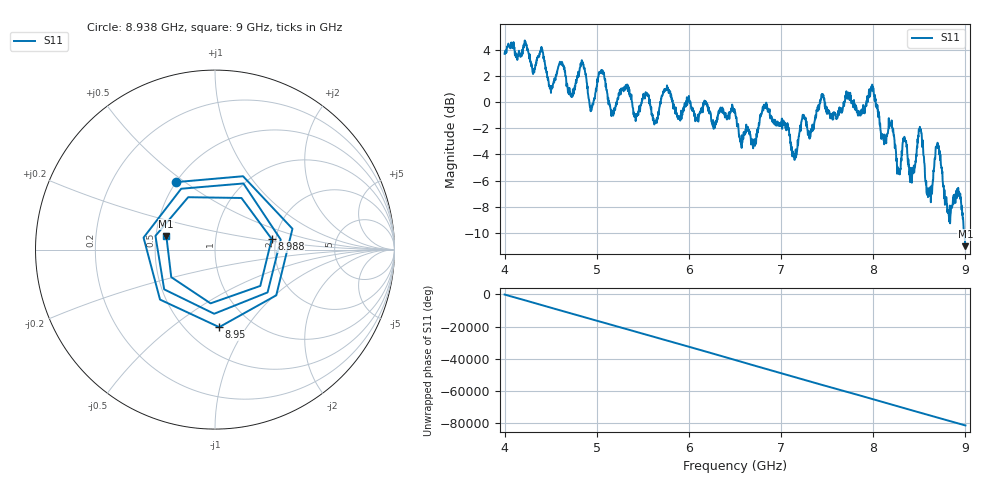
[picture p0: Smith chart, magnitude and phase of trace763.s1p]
! Created with skrf 1.8.0 (http://scikit-rf.org).
# Hz S RI R 50.0
!freq ReS11 ImS11
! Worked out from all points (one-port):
!   1601 points, 4 GHz to 9 GHz, reference 50 ohm
!   lowest |S11| = -11.0 dB at 9 GHz (marker M1), VSWR 1.79, Z = 28.4 + j4.71 ohm
!   |S11| at or under -10 dB: 8.991923 GHz to end of sweep
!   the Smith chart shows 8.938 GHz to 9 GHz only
!   S11 on the Smith chart (normalised r, x): 8.938 GHz: 0.50, +0.46; 8.95 GHz: 0.71, -0.76; 8.988 GHz: 1.90, +0.25; 9 GHz: 0.57, +0.09
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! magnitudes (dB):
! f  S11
! 4 GHz  3.7
! 4.403 GHz  4.0
! 4.503 GHz  0.7
! 4.625 GHz  3.0
! 4.722 GHz  0.5
! 4.85 GHz  3.0
! 4.938 GHz  -0.3
! 5.047 GHz  2.2
! 5.162 GHz  -0.7
! 5.25 GHz  0.9
! 5.875 GHz  -1.0
! 6.5 GHz  -0.8
! 6.703 GHz  -3.1
! 6.838 GHz  0.0
! 7.125 GHz  -3.8
! 7.444 GHz  0.6
! 7.75 GHz  0.7
! 7.994 GHz  0.9
! 8.275 GHz  -5.4
! 8.375 GHz  -4.5
! 8.512 GHz  -2.1
! 8.603 GHz  -6.9
! 8.697 GHz  -3.1
! 8.812 GHz  -8.5
! 8.938 GHz  -7.2
! 8.95 GHz  -7.3
! 8.988 GHz  -9.9
! 9 GHz  -11.0
